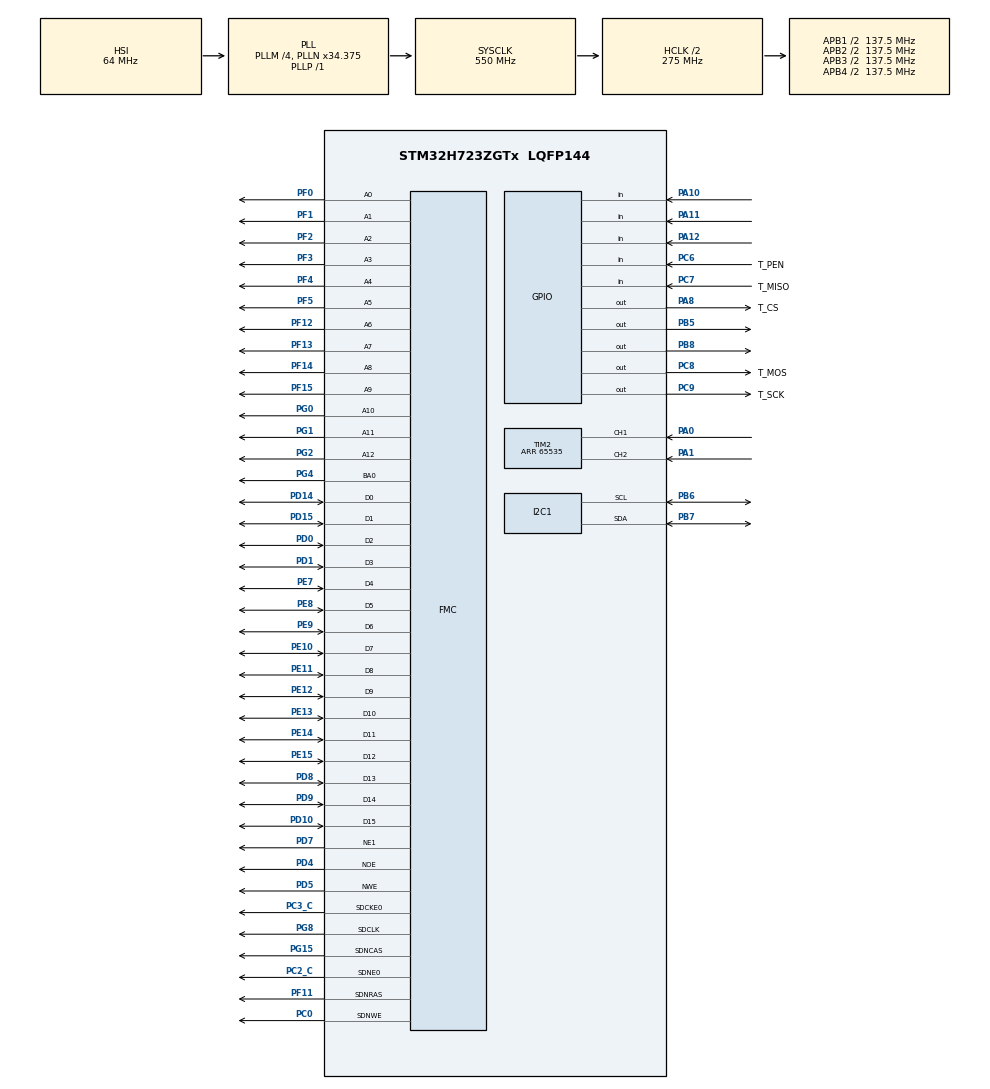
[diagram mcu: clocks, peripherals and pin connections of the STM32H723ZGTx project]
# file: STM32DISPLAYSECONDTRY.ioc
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CORTEX_M7.AccessPermission_Spec=MPU_REGION_FULL_ACCESS
CORTEX_M7.BaseAddress_Spec=0x60000000
CORTEX_M7.DisableExec_Spec=MPU_INSTRUCTION_ACCESS_ENABLE
CORTEX_M7.IsBufferable_Spec=MPU_ACCESS_BUFFERABLE
CORTEX_M7.IsShareable_Spec=MPU_ACCESS_NOT_SHAREABLE
CORTEX_M7.MPU_Control=MPU_PRIVILEGED_DEFAULT
CORTEX_M7.Size_Spec=MPU_REGION_SIZE_256MB
CORTEX_M7.SubRegionDisable_Spec=0x00
CORTEX_M7.default_mode_Activation=1
DMA2D.AlphaModeForeground=DMA2D_REPLACE_ALPHA
DMA2D.ColorMode=DMA2D_OUTPUT_RGB565
DMA2D.Mode=DMA2D_M2M
FMC.AddressSetupTime1=1
FMC.BusTurnAroundDuration1=2
FMC.CASLatency1=FMC_SDRAM_CAS_LATENCY_2
FMC.ColumnBitsNumber1=FMC_SDRAM_COLUMN_BITS_NUM_9
FMC.DataSetupTime1=2
FMC.ExitSelfRefreshDelay1=8
FMC.ExtendedAddressSetupTime1=1
FMC.ExtendedBusTurnAroundDuration1=2
FMC.ExtendedDataSetupTime1=2
FMC.ExtendedMode1=FMC_EXTENDED_MODE_ENABLE
FMC.LoadToActiveDelay1=2
FMC.RCDDelay1=2
FMC.RPDelay1=2
FMC.ReadBurst1=FMC_SDRAM_RBURST_ENABLE
FMC.RowCycleDelay1=6
FMC.SDClockPeriod1=FMC_SDRAM_CLOCK_PERIOD_2
FMC.SelfRefreshTime1=6
FMC.WriteOperation1=FMC_WRITE_OPERATION_ENABLE
FMC.WriteRecoveryTime1=4
FREERTOS.Tasks01=defaultTask,0,128,StartDefaultTask,Default,NULL,Dynamic,NULL,NULL
FREERTOS.configUSE_NEWLIB_REENTRANT=1
FREERTOS.configUSE_RECURSIVE_MUTEXES=1
FREERTOS.configUSE_TICK_HOOK=1
I2C1.CustomTiming=Enabled
I2C1.Timing=0x10909CEC
Mcu.Family=STM32H7
Mcu.Name=STM32H723ZGTx
Mcu.Package=LQFP144
NVIC.DMA2D_IRQn=true\:5\:0\:false\:false\:true\:true\:true\:true\:true
NVIC.PriorityGroup=NVIC_PRIORITYGROUP_4
PA0.Signal=S_TIM2_CH1_ETR
PA1.Signal=S_TIM2_CH2
PA10.GPIO_PuPd=GPIO_NOPULL
PA10.Signal=GPIO_Input
PA11.GPIO_PuPd=GPIO_NOPULL
PA11.Signal=GPIO_Input
PA12.GPIO_PuPd=GPIO_PULLUP
PA12.Signal=GPIO_Input
PA13(JTMS/SWDIO).Mode=Serial_Wire
PA13(JTMS/SWDIO).Signal=DEBUG_JTMS-SWDIO
PA14(JTCK/SWCLK).Mode=Serial_Wire
PA14(JTCK/SWCLK).Signal=DEBUG_JTCK-SWCLK
PA8.GPIO_Label=T_CS
PA8.GPIO_ModeDefaultOutputPP=GPIO_MODE_OUTPUT_PP
PA8.GPIO_PuPd=GPIO_PULLUP
PA8.GPIO_Speed=GPIO_SPEED_FREQ_HIGH
PA8.PinState=GPIO_PIN_SET
PA8.Signal=GPIO_Output
PB5.GPIO_ModeDefaultOutputPP=GPIO_MODE_OUTPUT_PP
PB5.GPIO_PuPd=GPIO_PULLUP
PB5.GPIO_Speed=GPIO_SPEED_FREQ_VERY_HIGH
PB5.PinState=GPIO_PIN_SET
PB5.Signal=GPIO_Output
PB6.GPIO_Speed=GPIO_SPEED_FREQ_VERY_HIGH
PB6.Mode=I2C
PB6.Signal=I2C1_SCL
PB7.GPIO_Speed=GPIO_SPEED_FREQ_VERY_HIGH
PB7.Mode=I2C
PB7.Signal=I2C1_SDA
PB8.GPIO_ModeDefaultOutputPP=GPIO_MODE_OUTPUT_PP
PB8.GPIO_PuPd=GPIO_PULLUP
PB8.GPIO_Speed=GPIO_SPEED_FREQ_VERY_HIGH
PB8.PinState=GPIO_PIN_SET
PB8.Signal=GPIO_Output
PC0.Signal=FMC_SDNWE
PC2_C.Mode=SdramChipSelect1_1
PC2_C.Signal=FMC_SDNE0
PC3_C.Mode=SdramChipSelect1_1
PC3_C.Signal=FMC_SDCKE0
PC6.GPIO_Label=T_PEN
PC6.GPIO_PuPd=GPIO_PULLUP
PC6.Signal=GPIO_Input
PC7.GPIO_Label=T_MISO
PC7.GPIO_PuPd=GPIO_PULLUP
PC7.Signal=GPIO_Input
PC8.GPIO_Label=T_MOS
PC8.GPIO_ModeDefaultOutputPP=GPIO_MODE_OUTPUT_PP
PC8.GPIO_PuPd=GPIO_PULLUP
PC8.GPIO_Speed=GPIO_SPEED_FREQ_HIGH
PC8.PinState=GPIO_PIN_SET
PC8.Signal=GPIO_Output
PC9.GPIO_Label=T_SCK
PC9.GPIO_PuPd=GPIO_PULLUP
PC9.GPIO_Speed=GPIO_SPEED_FREQ_HIGH
PC9.PinState=GPIO_PIN_SET
PC9.Signal=GPIO_Output
PD0.GPIO_Mode=GPIO_MODE_AF_PP
PD0.GPIO_PuPd=GPIO_PULLUP
PD0.GPIO_Speed_High_Default=GPIO_SPEED_FREQ_VERY_HIGH
PD0.Signal=FMC_D2_DA2
PD1.GPIO_Mode=GPIO_MODE_AF_PP
PD1.GPIO_PuPd=GPIO_PULLUP
PD1.GPIO_Speed_High_Default=GPIO_SPEED_FREQ_VERY_HIGH
PD1.Signal=FMC_D3_DA3
PD10.GPIO_Mode=GPIO_MODE_AF_PP
PD10.GPIO_PuPd=GPIO_PULLUP
PD10.GPIO_Speed_High_Default=GPIO_SPEED_FREQ_VERY_HIGH
PD10.Signal=FMC_D15_DA15
PD13.Signal=FMC_A18
PD14.GPIO_Mode=GPIO_MODE_AF_PP
PD14.GPIO_PuPd=GPIO_PULLUP
PD14.GPIO_Speed_High_Default=GPIO_SPEED_FREQ_VERY_HIGH
PD14.Signal=FMC_D0_DA0
PD15.GPIO_PuPd=GPIO_PULLUP
PD15.Signal=FMC_D1_DA1
PD4.GPIO_Mode=GPIO_MODE_AF_PP
PD4.GPIO_PuPd=GPIO_PULLUP
PD4.GPIO_Speed_High_Default=GPIO_SPEED_FREQ_VERY_HIGH
PD4.Signal=FMC_NOE
PD5.GPIO_Mode=GPIO_MODE_AF_PP
PD5.GPIO_PuPd=GPIO_PULLUP
PD5.GPIO_Speed_High_Default=GPIO_SPEED_FREQ_VERY_HIGH
PD5.Signal=FMC_NWE
PD7.GPIO_PuPd=GPIO_PULLUP
PD7.Mode=NorPsramChipSelect1_1
PD7.Signal=FMC_NE1
PD8.GPIO_Mode=GPIO_MODE_AF_PP
PD8.GPIO_PuPd=GPIO_PULLUP
PD8.GPIO_Speed_High_Default=GPIO_SPEED_FREQ_VERY_HIGH
PD8.Signal=FMC_D13_DA13
PD9.GPIO_Mode=GPIO_MODE_AF_PP
PD9.GPIO_PuPd=GPIO_PULLUP
PD9.GPIO_Speed_High_Default=GPIO_SPEED_FREQ_VERY_HIGH
PD9.Signal=FMC_D14_DA14
PE10.GPIO_Mode=GPIO_MODE_AF_PP
PE10.GPIO_PuPd=GPIO_PULLUP
PE10.GPIO_Speed_High_Default=GPIO_SPEED_FREQ_VERY_HIGH
PE10.Signal=FMC_D7_DA7
PE11.GPIO_Mode=GPIO_MODE_AF_PP
PE11.GPIO_PuPd=GPIO_PULLUP
PE11.GPIO_Speed_High_Default=GPIO_SPEED_FREQ_VERY_HIGH
PE11.Signal=FMC_D8_DA8
PE12.GPIO_Mode=GPIO_MODE_AF_PP
PE12.GPIO_PuPd=GPIO_PULLUP
PE12.GPIO_Speed_High_Default=GPIO_SPEED_FREQ_VERY_HIGH
PE12.Signal=FMC_D9_DA9
PE13.GPIO_Mode=GPIO_MODE_AF_PP
PE13.GPIO_PuPd=GPIO_PULLUP
PE13.GPIO_Speed_High_Default=GPIO_SPEED_FREQ_VERY_HIGH
PE13.Signal=FMC_D10_DA10
PE14.GPIO_Mode=GPIO_MODE_AF_PP
PE14.GPIO_PuPd=GPIO_PULLUP
PE14.GPIO_Speed_High_Default=GPIO_SPEED_FREQ_VERY_HIGH
PE14.Signal=FMC_D11_DA11
PE15.GPIO_Mode=GPIO_MODE_AF_PP
PE15.GPIO_PuPd=GPIO_PULLUP
PE15.GPIO_Speed_High_Default=GPIO_SPEED_FREQ_VERY_HIGH
PE15.Signal=FMC_D12_DA12
PE7.GPIO_Mode=GPIO_MODE_AF_PP
PE7.GPIO_PuPd=GPIO_PULLUP
PE7.GPIO_Speed_High_Default=GPIO_SPEED_FREQ_VERY_HIGH
PE7.Signal=FMC_D4_DA4
PE8.GPIO_Mode=GPIO_MODE_AF_PP
PE8.GPIO_PuPd=GPIO_PULLUP
PE8.GPIO_Speed_High_Default=GPIO_SPEED_FREQ_VERY_HIGH
PE8.Signal=FMC_D5_DA5
PE9.GPIO_Mode=GPIO_MODE_AF_PP
PE9.GPIO_PuPd=GPIO_PULLUP
PE9.GPIO_Speed_High_Default=GPIO_SPEED_FREQ_VERY_HIGH
PE9.Signal=FMC_D6_DA6
PF0.Signal=FMC_A0
PF1.Signal=FMC_A1
PF11.Signal=FMC_SDNRAS
PF12.Signal=FMC_A6
PF13.Signal=FMC_A7
PF14.Signal=FMC_A8
PF15.Signal=FMC_A9
PF2.Signal=FMC_A2
PF3.Signal=FMC_A3
PF4.Signal=FMC_A4
PF5.Signal=FMC_A5
PG0.Signal=FMC_A10
PG1.Signal=FMC_A11
PG15.Signal=FMC_SDNCAS
PG2.Signal=FMC_A12
PG4.Signal=FMC_A14_BA0
PG8.Signal=FMC_SDCLK
PH0-OSC_IN.Mode=HSE-External-Oscillator
PH0-OSC_IN.Signal=RCC_OSC_IN
PH1-OSC_OUT.Mode=HSE-External-Oscillator
PH1-OSC_OUT.Signal=RCC_OSC_OUT
ProjectManager.HeapSize=0x200
ProjectManager.StackSize=0x400
ProjectManager.TargetToolchain=STM32CubeIDE
RCC.ADCFreq_Value=129000000
RCC.APB1Freq_Value=137500000
RCC.APB2Freq_Value=137500000
RCC.APB3Freq_Value=137500000
RCC.APB4Freq_Value=137500000
RCC.CortexFreq_Value=550000000
RCC.D1PPRE=RCC_APB3_DIV2
RCC.D2PPRE1=RCC_APB1_DIV2
RCC.D2PPRE2=RCC_APB2_DIV2
RCC.D3PPRE=RCC_APB4_DIV2
RCC.DIVM1=4
RCC.DIVN1=34
RCC.DIVP1=1
RCC.FMCCLockSelection=RCC_FMCCLKSOURCE_PLL2
RCC.HCLKFreq_Value=275000000
RCC.HPRE=RCC_HCLK_DIV2
RCC.PLL2FRACN=0
RCC.PLL3FRACN=0
RCC.PLLFRACN=3072
RCC.SYSCLKFreq_VALUE=550000000
RCC.SYSCLKSource=RCC_SYSCLKSOURCE_PLLCLK
RCC.USBFreq_Value=275000000
SH.FMC_A0.0=FMC_A0,13b-sda1
SH.FMC_A0.1=FMC_A0,1b-a1
SH.FMC_A1.0=FMC_A1,13b-sda1
SH.FMC_A10.0=FMC_A10,13b-sda1
SH.FMC_A11.0=FMC_A11,13b-sda1
SH.FMC_A12.0=FMC_A12,13b-sda1
SH.FMC_A14_BA0.0=FMC_BA0,TwoSdramBanks1
SH.FMC_A18.0=FMC_A18
SH.FMC_A2.0=FMC_A2,13b-sda1
SH.FMC_A3.0=FMC_A3,13b-sda1
SH.FMC_A4.0=FMC_A4,13b-sda1
SH.FMC_A5.0=FMC_A5,13b-sda1
SH.FMC_A6.0=FMC_A6,13b-sda1
SH.FMC_A7.0=FMC_A7,13b-sda1
SH.FMC_A8.0=FMC_A8,13b-sda1
SH.FMC_A9.0=FMC_A9,13b-sda1
SH.FMC_D0_DA0.0=FMC_D0,sd-8b-d1
SH.FMC_D0_DA0.1=FMC_D0,16b-d1
SH.FMC_D10_DA10.0=FMC_D10,16b-d1
SH.FMC_D11_DA11.0=FMC_D11,16b-d1
SH.FMC_D12_DA12.0=FMC_D12,16b-d1
SH.FMC_D13_DA13.0=FMC_D13,16b-d1
SH.FMC_D14_DA14.0=FMC_D14,16b-d1
SH.FMC_D15_DA15.0=FMC_D15,16b-d1
SH.FMC_D1_DA1.0=FMC_D1,sd-8b-d1
SH.FMC_D1_DA1.1=FMC_D1,16b-d1
SH.FMC_D2_DA2.0=FMC_D2,sd-8b-d1
SH.FMC_D2_DA2.1=FMC_D2,16b-d1
SH.FMC_D3_DA3.0=FMC_D3,sd-8b-d1
SH.FMC_D3_DA3.1=FMC_D3,16b-d1
SH.FMC_D4_DA4.0=FMC_D4,sd-8b-d1
SH.FMC_D4_DA4.1=FMC_D4,16b-d1
SH.FMC_D5_DA5.0=FMC_D5,sd-8b-d1
SH.FMC_D5_DA5.1=FMC_D5,16b-d1
SH.FMC_D6_DA6.0=FMC_D6,sd-8b-d1
SH.FMC_D6_DA6.1=FMC_D6,16b-d1
SH.FMC_D7_DA7.0=FMC_D7,sd-8b-d1
SH.FMC_D7_DA7.1=FMC_D7,16b-d1
SH.FMC_D8_DA8.0=FMC_D8,16b-d1
SH.FMC_D9_DA9.0=FMC_D9,16b-d1
SH.FMC_NOE.0=FMC_NOE,Sram1
SH.FMC_NWE.0=FMC_NWE,Sram1
SH.FMC_SDCLK.0=FMC_SDCLK,13b-sda1
SH.FMC_SDNCAS.0=FMC_SDNCAS,13b-sda1
SH.FMC_SDNRAS.0=FMC_SDNRAS,13b-sda1
SH.FMC_SDNWE.0=FMC_SDNWE,13b-sda1
SH.S_TIM2_CH1_ETR.0=TIM2_CH1,Encoder_Interface
SH.S_TIM2_CH2.0=TIM2_CH2,Encoder_Interface
TIM2.EncoderMode=TIM_ENCODERMODE_TI12
TIM2.IC1Polarity=TIM_ICPOLARITY_FALLING
TIM2.IC2Polarity=TIM_ICPOLARITY_FALLING
TIM2.Period=65535
VP_DMA2D_VS_DMA2D.Mode=DMA2D_Activate
VP_FREERTOS_VS_CMSIS_V1.Mode=CMSIS_V1
VP_MEMORYMAP_VS_MEMORYMAP.Mode=CurAppReg
board=custom

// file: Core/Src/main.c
/* USER CODE BEGIN Header */
/**
  ******************************************************************************
  * @file           : main.c
  * @brief          : Main program body
  ******************************************************************************
  * @attention
  *
  * Copyright (c) 2025 STMicroelectronics.
  * All rights reserved.
  *
  * This software is licensed under terms that can be found in the LICENSE file
  * in the root directory of this software component.
  * If no LICENSE file comes with this software, it is provided AS-IS.
  *
  ******************************************************************************
  */
/* USER CODE END Header */
#include "main.h"
#include "cmsis_os.h"

/* USER CODE BEGIN PM */
osThreadId sigmabroHandler;
osThreadId EncoderHandler;
QueueHandle_t Queue;
/* USER CODE END PM */

DMA2D_HandleTypeDef hdma2d;

I2C_HandleTypeDef hi2c1;

TIM_HandleTypeDef htim2;

SRAM_HandleTypeDef hsram1;
SDRAM_HandleTypeDef hsdram1;
osThreadId defaultTaskHandle;
/* USER CODE BEGIN PV */
void LVGL(void const * argument);
void ReadEncoder(void const * argument);
uint8_t buf1[800 * 96]={0};  // 160,000 bytes (100 строк)
uint8_t buf2[800 * 96]={0};  // 160,000 bytes (100 строк)
lv_display_t * display1 = NULL;
volatile uint32_t counter=0;
volatile uint32_t RawCounter=0;
volatile uint32_t last_сounter=0;
volatile uint32_t blink_delay = 200;
/* USER CODE END PV */

void SystemClock_Config(void);
static void MPU_Config(void);
static void MX_GPIO_Init(void);
static void MX_FMC_Init(void);
static void MX_DMA2D_Init(void);
static void MX_I2C1_Init(void);
static void MX_TIM2_Init(void);
void StartDefaultTask(void const * argument);

/* USER CODE BEGIN PFP */

#define SCREEN_WIDTH 480
#define SCREEN_HEIGHT 800
void DMA2D_CopyBuffer(uint16_t* src, uint32_t x, uint32_t y, uint32_t width, uint32_t height)
{
   // while (DMA2D->CR & DMA2D_CR_START) {
      //  __NOP();
   // }

    //uint32_t dest_addr = (uint32_t*)(&LCD->LCD_RAM);

    // Настройка DMA2D
      //DMA2D->CR = 0x00000000UL;
       //DMA2D->FGMAR = (uint32_t)src;
       //DMA2D->OMAR = (uint32_t)dest_addr;
       //DMA2D->FGOR =0;
      //DMA2D->OOR =0;
      // DMA2D->NLR = (width << 16) | (height & 0xFFFF);
       //DMA2D->FGPFCCR = DMA2D_INPUT_RGB565;
       //DMA2D->OPFCCR = DMA2D_OUTPUT_RGB565;
      // DMA2D->IFCR = 0x3FU;
       //DMA2D->CR |= DMA2D_CR_TCIE;
       //DMA2D->CR |= DMA2D_CR_START;
    //HAL_DMA2D_Start_IT(&hdma2d, (uint32_t)src, dest_addr, width, height);

       // Ждем завершения

}
void my_flush_cb(lv_display_t * display, const lv_area_t * area, uint8_t * px_map) //Получаем сам дисплей, границы и пиксели
{
	LCD_SetWindows(area->x1, area->y1, area->x2, area->y2);
	int32_t width = (area->x2 - area->x1 + 1);
	int32_t height = (area->y2 - area->y1 + 1);
	uint32_t pixel_count = width*height;
	uint16_t * buf16 = (uint16_t*)px_map;
    //uint16_t width = (area->x2 - area->x1 + 1);
   // uint16_t height = (area->y2 - area->y1 + 1);
    uint16_t *dest_addr = (uint16_t*)(&LCD->LCD_RAM);
    //uint32_t* src = px_map;
    //for(uint32_t i = 0; i < pixel_count; i++) {
    	//Lcd_WriteData_16Bit(*buf16);
    	//buf16++;
    //}
    //lv_display_flush_ready(display);
	///////////////////////////////////////////////////// DMA
    //DMA2D_CopyBuffer((uint16_t*)px_map, area->x1, area->y1, width, height);
    // lv_draw_dma2d_transfer_complete_interrupt_handler();
    //buf16++;
   //  lv_disp_flush_ready(display);
   ///////////////////////////////////////////////////////////////
    //lv_memcpy(&LCD->LCD_RAM, buf16, width * height * 2);
   /////////////////////////////////////////////////////////////////
    for(uint32_t i = 0; i < pixel_count; i++) {
            *dest_addr = buf16[i];
       }
    lv_display_flush_ready(display);
}
//static void disp_flush_complete(DMA2D_HandleTypeDef *hdma2d)
//{
  //lv_display_flush_ready(display1);
//}
static void my_input_read(lv_indev_t * indev, lv_indev_data_t * data)
{
	if(TP_Scan(0) & 0x80)
	{
		data->state = LV_INDEV_STATE_PRESSED;

	} else {
        data->state = LV_INDEV_STATE_RELEASED;
    }
	data->point.x = (int32_t)tp_dev.x;
	data->point.y = (int32_t)tp_dev.y;
}
/* USER CODE END PFP */

int main(void)
{

  /* MPU Configuration--------------------------------------------------------*/
  MPU_Config();

  /* MCU Configuration--------------------------------------------------------*/

  /* Reset of all peripherals, Initializes the Flash interface and the Systick. */
  HAL_Init();

  /* Configure the system clock */
  SystemClock_Config();

  /* Initialize all configured peripherals */
  MX_GPIO_Init();
  MX_FMC_Init();
  MX_DMA2D_Init();
  MX_I2C1_Init();
  MX_TIM2_Init();
  /* USER CODE BEGIN 2 */
  Cache_Enable();                 //打开L1-Cache                //初始化HAL库
  //Stm32_Clock_Init(160,5,2,4);  		    //设置时钟,400Mhz
  delay_init(550);						//延时初始化
  //SDRAM_Init();      //初始化SDRAM
  //HAL_Delay(10);
  LCD_Init();
  TP_Init();
  //HAL_DMA2D_Init(&hdma2d);
  //hdma2d.XferCpltCallback = disp_flush_complete;
  // Настройка формата цвета

  //lv_init();
  //lv_tick_set_cb(HAL_GetTick);
  //lv_tick_set_cb(xTaskGetTickCount);
  //display1 = lv_display_create(480, 800);
  //lv_display_set_buffers(display1, buf1, buf2, sizeof(buf1), LV_DISPLAY_RENDER_MODE_PARTIAL);
  //lv_display_set_flush_cb(display1, my_flush_cb);

 // lv_indev_t * indev = lv_indev_create();
  //lv_indev_set_type(indev, LV_INDEV_TYPE_POINTER);
 // lv_indev_set_read_cb(indev, my_input_read);

  //ui_init();
  //lv_disp_flush_ready(display1);

  /* USER CODE END 2 */

  /* Create the thread(s) */
  /* definition and creation of defaultTask */
  osThreadDef(defaultTask, StartDefaultTask, osPriorityNormal, 0, 128);
  defaultTaskHandle = osThreadCreate(osThread(defaultTask), NULL);

  /* USER CODE BEGIN RTOS_THREADS */
  /* add threads, ... */
  osThreadDef(LVGLupdate, LVGL, osPriorityAboveNormal, 0, 2048);
  sigmabroHandler = osThreadCreate(osThread(LVGLupdate), NULL);

  osThreadDef(Encoder, ReadEncoder, osPriorityAboveNormal, 0, 512);
  EncoderHandler = osThreadCreate(osThread(Encoder), NULL);
  //osThreadDef(GetTempAndHumid, TempnHumid, osPriorityNormal, 0, 512);
  //TempAndHumidHandle = osThreadCreate(osThread(GetTempAndHumid), NULL);
  /* USER CODE END RTOS_THREADS */

  Queue = xQueueCreate( 8, sizeof( uint32_t ) );
  /* Start scheduler */
  osKernelStart();

  /* We should never get here as control is now taken by the scheduler */

  /* Infinite loop */
  while (1)
  {

  }
}

void SystemClock_Config(void)
{
  RCC_OscInitTypeDef RCC_OscInitStruct = {0};
  RCC_ClkInitTypeDef RCC_ClkInitStruct = {0};

  /** Supply configuration update enable
  */
  HAL_PWREx_ConfigSupply(PWR_LDO_SUPPLY);

  /** Configure the main internal regulator output voltage
  */
  __HAL_PWR_VOLTAGESCALING_CONFIG(PWR_REGULATOR_VOLTAGE_SCALE0);

  while(!__HAL_PWR_GET_FLAG(PWR_FLAG_VOSRDY)) {}

  /** Initializes the RCC Oscillators according to the specified parameters
  * in the RCC_OscInitTypeDef structure.
  */
  RCC_OscInitStruct.OscillatorType = RCC_OSCILLATORTYPE_HSI;
  RCC_OscInitStruct.HSIState = RCC_HSI_DIV1;
  RCC_OscInitStruct.HSICalibrationValue = 64;
  RCC_OscInitStruct.PLL.PLLState = RCC_PLL_ON;
  RCC_OscInitStruct.PLL.PLLSource = RCC_PLLSOURCE_HSI;
  RCC_OscInitStruct.PLL.PLLM = 4;
  RCC_OscInitStruct.PLL.PLLN = 34;
  RCC_OscInitStruct.PLL.PLLP = 1;
  RCC_OscInitStruct.PLL.PLLQ = 2;
  RCC_OscInitStruct.PLL.PLLR = 2;
  RCC_OscInitStruct.PLL.PLLRGE = RCC_PLL1VCIRANGE_3;
  RCC_OscInitStruct.PLL.PLLVCOSEL = RCC_PLL1VCOWIDE;
  RCC_OscInitStruct.PLL.PLLFRACN = 3072;
  if (HAL_RCC_OscConfig(&RCC_OscInitStruct) != HAL_OK)
  {
    Error_Handler();
  }

  /** Initializes the CPU, AHB and APB buses clocks
  */
  RCC_ClkInitStruct.ClockType = RCC_CLOCKTYPE_HCLK|RCC_CLOCKTYPE_SYSCLK
                              |RCC_CLOCKTYPE_PCLK1|RCC_CLOCKTYPE_PCLK2
                              |RCC_CLOCKTYPE_D3PCLK1|RCC_CLOCKTYPE_D1PCLK1;
  RCC_ClkInitStruct.SYSCLKSource = RCC_SYSCLKSOURCE_PLLCLK;
  RCC_ClkInitStruct.SYSCLKDivider = RCC_SYSCLK_DIV1;
  RCC_ClkInitStruct.AHBCLKDivider = RCC_HCLK_DIV2;
  RCC_ClkInitStruct.APB3CLKDivider = RCC_APB3_DIV2;
  RCC_ClkInitStruct.APB1CLKDivider = RCC_APB1_DIV2;
  RCC_ClkInitStruct.APB2CLKDivider = RCC_APB2_DIV2;
  RCC_ClkInitStruct.APB4CLKDivider = RCC_APB4_DIV2;

  if (HAL_RCC_ClockConfig(&RCC_ClkInitStruct, FLASH_LATENCY_3) != HAL_OK)
  {
    Error_Handler();
  }
}

static void MX_DMA2D_Init(void)
{

  /* USER CODE BEGIN DMA2D_Init 0 */
  __HAL_RCC_DMA2D_CLK_ENABLE();

  /* USER CODE END DMA2D_Init 0 */

  hdma2d.Instance = DMA2D;
  hdma2d.Init.Mode = DMA2D_M2M;
  hdma2d.Init.ColorMode = DMA2D_OUTPUT_RGB565;
  hdma2d.Init.OutputOffset = 0;
  hdma2d.LayerCfg[1].InputOffset = 0;
  hdma2d.LayerCfg[1].InputColorMode = DMA2D_INPUT_RGB565;
  hdma2d.LayerCfg[1].AlphaMode = DMA2D_REPLACE_ALPHA;
  hdma2d.LayerCfg[1].InputAlpha = 0;
  hdma2d.LayerCfg[1].AlphaInverted = DMA2D_REGULAR_ALPHA;
  hdma2d.LayerCfg[1].RedBlueSwap = DMA2D_RB_REGULAR;
  hdma2d.LayerCfg[1].ChromaSubSampling = DMA2D_NO_CSS;
  if (HAL_DMA2D_Init(&hdma2d) != HAL_OK)
  {
    Error_Handler();
  }
  if (HAL_DMA2D_ConfigLayer(&hdma2d, 1) != HAL_OK)
  {
    Error_Handler();
  }

}

static void MX_I2C1_Init(void)
{

  hi2c1.Instance = I2C1;
  hi2c1.Init.Timing = 0x10909CEC;
  hi2c1.Init.OwnAddress1 = 0;
  hi2c1.Init.AddressingMode = I2C_ADDRESSINGMODE_7BIT;
  hi2c1.Init.DualAddressMode = I2C_DUALADDRESS_DISABLE;
  hi2c1.Init.OwnAddress2 = 0;
  hi2c1.Init.OwnAddress2Masks = I2C_OA2_NOMASK;
  hi2c1.Init.GeneralCallMode = I2C_GENERALCALL_DISABLE;
  hi2c1.Init.NoStretchMode = I2C_NOSTRETCH_DISABLE;
  if (HAL_I2C_Init(&hi2c1) != HAL_OK)
  {
    Error_Handler();
  }

  /** Configure Analogue filter
  */
  if (HAL_I2CEx_ConfigAnalogFilter(&hi2c1, I2C_ANALOGFILTER_ENABLE) != HAL_OK)
  {
    Error_Handler();
  }

  /** Configure Digital filter
  */
  if (HAL_I2CEx_ConfigDigitalFilter(&hi2c1, 0) != HAL_OK)
  {
    Error_Handler();
  }

}

static void MX_TIM2_Init(void)
{

  TIM_Encoder_InitTypeDef sConfig = {0};
  TIM_MasterConfigTypeDef sMasterConfig = {0};

  htim2.Instance = TIM2;
  htim2.Init.Prescaler = 0;
  htim2.Init.CounterMode = TIM_COUNTERMODE_UP;
  htim2.Init.Period = 65535;
  htim2.Init.ClockDivision = TIM_CLOCKDIVISION_DIV1;
  htim2.Init.AutoReloadPreload = TIM_AUTORELOAD_PRELOAD_DISABLE;
  sConfig.EncoderMode = TIM_ENCODERMODE_TI12;
  sConfig.IC1Polarity = TIM_ICPOLARITY_FALLING;
  sConfig.IC1Selection = TIM_ICSELECTION_DIRECTTI;
  sConfig.IC1Prescaler = TIM_ICPSC_DIV1;
  sConfig.IC1Filter = 0;
  sConfig.IC2Polarity = TIM_ICPOLARITY_FALLING;
  sConfig.IC2Selection = TIM_ICSELECTION_DIRECTTI;
  sConfig.IC2Prescaler = TIM_ICPSC_DIV1;
  sConfig.IC2Filter = 0;
  if (HAL_TIM_Encoder_Init(&htim2, &sConfig) != HAL_OK)
  {
    Error_Handler();
  }
  sMasterConfig.MasterOutputTrigger = TIM_TRGO_RESET;
  sMasterConfig.MasterSlaveMode = TIM_MASTERSLAVEMODE_DISABLE;
  if (HAL_TIMEx_MasterConfigSynchronization(&htim2, &sMasterConfig) != HAL_OK)
  {
    Error_Handler();
  }

}

/* FMC initialization function */
static void MX_FMC_Init(void)
{

  FMC_NORSRAM_TimingTypeDef Timing = {0};
  FMC_NORSRAM_TimingTypeDef ExtTiming = {0};
  FMC_SDRAM_TimingTypeDef SdramTiming = {0};

  /** Perform the SRAM1 memory initialization sequence
  */
  hsram1.Instance = FMC_NORSRAM_DEVICE;
  hsram1.Extended = FMC_NORSRAM_EXTENDED_DEVICE;
  /* hsram1.Init */
  hsram1.Init.NSBank = FMC_NORSRAM_BANK1;
  hsram1.Init.DataAddressMux = FMC_DATA_ADDRESS_MUX_DISABLE;
  hsram1.Init.MemoryType = FMC_MEMORY_TYPE_SRAM;
  hsram1.Init.MemoryDataWidth = FMC_NORSRAM_MEM_BUS_WIDTH_16;
  hsram1.Init.BurstAccessMode = FMC_BURST_ACCESS_MODE_DISABLE;
  hsram1.Init.WaitSignalPolarity = FMC_WAIT_SIGNAL_POLARITY_LOW;
  hsram1.Init.WaitSignalActive = FMC_WAIT_TIMING_BEFORE_WS;
  hsram1.Init.WriteOperation = FMC_WRITE_OPERATION_ENABLE;
  hsram1.Init.WaitSignal = FMC_WAIT_SIGNAL_DISABLE;
  hsram1.Init.ExtendedMode = FMC_EXTENDED_MODE_ENABLE;
  hsram1.Init.AsynchronousWait = FMC_ASYNCHRONOUS_WAIT_DISABLE;
  hsram1.Init.WriteBurst = FMC_WRITE_BURST_DISABLE;
  hsram1.Init.ContinuousClock = FMC_CONTINUOUS_CLOCK_SYNC_ONLY;
  hsram1.Init.WriteFifo = FMC_WRITE_FIFO_ENABLE;
  hsram1.Init.PageSize = FMC_PAGE_SIZE_NONE;
  /* Timing */
  Timing.AddressSetupTime = 1;
  Timing.AddressHoldTime = 15;
  Timing.DataSetupTime = 2;
  Timing.BusTurnAroundDuration = 2;
  Timing.CLKDivision = 16;
  Timing.DataLatency = 17;
  Timing.AccessMode = FMC_ACCESS_MODE_A;
  /* ExtTiming */
  ExtTiming.AddressSetupTime = 1;
  ExtTiming.AddressHoldTime = 15;
  ExtTiming.DataSetupTime = 2;
  ExtTiming.BusTurnAroundDuration = 2;
  ExtTiming.CLKDivision = 16;
  ExtTiming.DataLatency = 17;
  ExtTiming.AccessMode = FMC_ACCESS_MODE_A;

  if (HAL_SRAM_Init(&hsram1, &Timing, &ExtTiming) != HAL_OK)
  {
    Error_Handler( );
  }

  /** Perform the SDRAM1 memory initialization sequence
  */
  hsdram1.Instance = FMC_SDRAM_DEVICE;
  /* hsdram1.Init */
  hsdram1.Init.SDBank = FMC_SDRAM_BANK1;
  hsdram1.Init.ColumnBitsNumber = FMC_SDRAM_COLUMN_BITS_NUM_9;
  hsdram1.Init.RowBitsNumber = FMC_SDRAM_ROW_BITS_NUM_13;
  hsdram1.Init.MemoryDataWidth = FMC_SDRAM_MEM_BUS_WIDTH_8;
  hsdram1.Init.InternalBankNumber = FMC_SDRAM_INTERN_BANKS_NUM_2;
  hsdram1.Init.CASLatency = FMC_SDRAM_CAS_LATENCY_2;
  hsdram1.Init.WriteProtection = FMC_SDRAM_WRITE_PROTECTION_DISABLE;
  hsdram1.Init.SDClockPeriod = FMC_SDRAM_CLOCK_PERIOD_2;
  hsdram1.Init.ReadBurst = FMC_SDRAM_RBURST_ENABLE;
  hsdram1.Init.ReadPipeDelay = FMC_SDRAM_RPIPE_DELAY_0;
  /* SdramTiming */
  SdramTiming.LoadToActiveDelay = 2;
  SdramTiming.ExitSelfRefreshDelay = 8;
  SdramTiming.SelfRefreshTime = 6;
  SdramTiming.RowCycleDelay = 6;
  SdramTiming.WriteRecoveryTime = 4;
  SdramTiming.RPDelay = 2;
  SdramTiming.RCDDelay = 2;

  if (HAL_SDRAM_Init(&hsdram1, &SdramTiming) != HAL_OK)
  {
    Error_Handler( );
  }

  /* USER CODE BEGIN FMC_Init 2 */
  HAL_SDRAM_ProgramRefreshRate(&hsdram1,3124);
  /* USER CODE END FMC_Init 2 */
}

static void MX_GPIO_Init(void)
{
  GPIO_InitTypeDef GPIO_InitStruct = {0};

  /* GPIO Ports Clock Enable */
  __HAL_RCC_GPIOF_CLK_ENABLE();
  __HAL_RCC_GPIOH_CLK_ENABLE();
  __HAL_RCC_GPIOC_CLK_ENABLE();
  __HAL_RCC_GPIOA_CLK_ENABLE();
  __HAL_RCC_GPIOG_CLK_ENABLE();
  __HAL_RCC_GPIOE_CLK_ENABLE();
  __HAL_RCC_GPIOD_CLK_ENABLE();
  __HAL_RCC_GPIOB_CLK_ENABLE();

  /*Configure GPIO pin Output Level */
  HAL_GPIO_WritePin(GPIOC, T_MOS_Pin|T_SCK_Pin, GPIO_PIN_SET);

  /*Configure GPIO pin Output Level */
  HAL_GPIO_WritePin(T_CS_GPIO_Port, T_CS_Pin, GPIO_PIN_SET);

  /*Configure GPIO pin Output Level */
  HAL_GPIO_WritePin(GPIOB, GPIO_PIN_5|GPIO_PIN_8, GPIO_PIN_SET);

  /*Configure GPIO pins : T_PEN_Pin T_MISO_Pin */
  GPIO_InitStruct.Pin = T_PEN_Pin|T_MISO_Pin;
  GPIO_InitStruct.Mode = GPIO_MODE_INPUT;
  GPIO_InitStruct.Pull = GPIO_PULLUP;
  HAL_GPIO_Init(GPIOC, &GPIO_InitStruct);

  /*Configure GPIO pins : T_MOS_Pin T_SCK_Pin */
  GPIO_InitStruct.Pin = T_MOS_Pin|T_SCK_Pin;
  GPIO_InitStruct.Mode = GPIO_MODE_OUTPUT_PP;
  GPIO_InitStruct.Pull = GPIO_PULLUP;
  GPIO_InitStruct.Speed = GPIO_SPEED_FREQ_HIGH;
  HAL_GPIO_Init(GPIOC, &GPIO_InitStruct);

  /*Configure GPIO pin : T_CS_Pin */
  GPIO_InitStruct.Pin = T_CS_Pin;
  GPIO_InitStruct.Mode = GPIO_MODE_OUTPUT_PP;
  GPIO_InitStruct.Pull = GPIO_PULLUP;
  GPIO_InitStruct.Speed = GPIO_SPEED_FREQ_HIGH;
  HAL_GPIO_Init(T_CS_GPIO_Port, &GPIO_InitStruct);

  /*Configure GPIO pins : PA10 PA11 */
  GPIO_InitStruct.Pin = GPIO_PIN_10|GPIO_PIN_11;
  GPIO_InitStruct.Mode = GPIO_MODE_INPUT;
  GPIO_InitStruct.Pull = GPIO_NOPULL;
  HAL_GPIO_Init(GPIOA, &GPIO_InitStruct);

  /*Configure GPIO pin : PA12 */
  GPIO_InitStruct.Pin = GPIO_PIN_12;
  GPIO_InitStruct.Mode = GPIO_MODE_INPUT;
  GPIO_InitStruct.Pull = GPIO_PULLUP;
  HAL_GPIO_Init(GPIOA, &GPIO_InitStruct);

  /*Configure GPIO pins : PB5 PB8 */
  GPIO_InitStruct.Pin = GPIO_PIN_5|GPIO_PIN_8;
  GPIO_InitStruct.Mode = GPIO_MODE_OUTPUT_PP;
  GPIO_InitStruct.Pull = GPIO_PULLUP;
  GPIO_InitStruct.Speed = GPIO_SPEED_FREQ_VERY_HIGH;
  HAL_GPIO_Init(GPIOB, &GPIO_InitStruct);

}

/* USER CODE BEGIN 4 */
/* USER CODE END Header_StartDefaultTask */
void vApplicationTickHook()
{
	lv_tick_inc(1);
}
void LVGL(void const * argument)
{
  /* USER CODE BEGIN 5 */
	//osDelay(50);
	lv_init();
	  //lv_tick_set_cb(HAL_GetTick);
	lv_tick_set_cb(xTaskGetTickCount);
	  display1 = lv_display_create(480, 800);
	  lv_display_set_buffers(display1, buf1, buf2, sizeof(buf1), LV_DISPLAY_RENDER_MODE_PARTIAL);
	  lv_display_set_flush_cb(display1, my_flush_cb);

	  lv_indev_t * indev = lv_indev_create();
	  lv_indev_set_type(indev, LV_INDEV_TYPE_POINTER);
	  lv_indev_set_read_cb(indev, my_input_read);
	  //osDelay(50);
	  ui_init();
  /* Infinite loop */
  for(;;)
  {
	  //osMutexWait(lvglMutexHandle, osWaitForever);
	  //xQueueReceive( Queue, &ReadEncoder, portMAX_DELAY );
	  lv_timer_handler();
	  //osMutexRelease(lvglMutexHandle);
	  vTaskDelay(2);
  }
  /* USER CODE END 5 */
}
void ReadEncoder(void const * argument)
{
	/*uint8_t lastStateCLK, currentStateCLK, btnState;
	uint16_t counter=0;
	char *currentDir ="";
	lastStateCLK = HAL_GPIO_ReadPin(GPIOA, GPIO_PIN_10);
	for(;;)
	{
		currentStateCLK=HAL_GPIO_ReadPin(GPIOA, GPIO_PIN_10);
		// Проверяем изменилось ли состояние CLK
		  if (lastStateCLK != GPIO_PIN_RESET  && currentStateCLK == GPIO_PIN_SET){
		    uint8_t DT = HAL_GPIO_ReadPin(GPIOA, GPIO_PIN_11);
		    if(DT==GPIO_PIN_RESET)
		    {
		      counter--;
		      currentDir ="CCW";
		    } else {
		      counter++;
		      currentDir ="CW";
		    }
		  }

		  lastStateCLK = currentStateCLK;         // Запопоследнее состояние CLK
		  btnState = HAL_GPIO_ReadPin(GPIOA, GPIO_PIN_12);        // Считываем состояние вывода SW*/
	HAL_TIM_Encoder_Start(&htim2,TIM_CHANNEL_ALL);
	for(;;)
	{
		RawCounter =__HAL_TIM_GET_COUNTER(&htim2);
		counter=(RawCounter/4)%21;
		printf("%d \n",counter);
		if (counter !=last_сounter)
		{
			blink_delay=10+(counter%100)*10;
			last_сounter=counter;
		}
		//xQueueSend( Queue, ( void * ) &LVGL, portMAX_DELAY  );
		vTaskDelay(200);
	}

}
/*void TempnHumid(void const * argument)
{
	sht3x_handle_t handle = {
	    .i2c_handle = &hi2c1,
	    .device_address = SHT3X_I2C_DEVICE_ADDRESS_ADDR_PIN_LOW
	};
	if (!sht3x_init(&handle)) {
	    printf("SHT3x access failed.\n\r");
	}
	float temperature=0;
	float humidity=0;
  /* USER CODE BEGIN 5 */
  /* Infinite loop */
  /*for(;;)
  {
	  sht3x_read_temperature_and_humidity(&handle, &temperature, &humidity);
	  sht3x_set_header_enable(&handle, true);
	  osDelay(2000);
	  sht3x_set_header_enable(&handle, false);
	  sht3x_read_temperature_and_humidity(&handle, &temperature, &humidity);
	  //datchik_readtempandhumid(&temperature,&humidity);
	  vTaskDelay(10000);
  }
  /* USER CODE END 5 */

/* USER CODE END 4 */

void StartDefaultTask(void const * argument)
{
  /* USER CODE BEGIN 5 */
	//osDelay(50);
  /* Infinite loop */
  for(;;)
  {
  }
  /* USER CODE END 5 */
}

 /* MPU Configuration */

void MPU_Config(void)
{
  MPU_Region_InitTypeDef MPU_InitStruct = {0};

  /* Disables the MPU */
  HAL_MPU_Disable();

  /** Initializes and configures the Region and the memory to be protected
  */
  MPU_InitStruct.Enable = MPU_REGION_ENABLE;
  MPU_InitStruct.Number = MPU_REGION_NUMBER0;
  MPU_InitStruct.BaseAddress = 0x60000000;
  MPU_InitStruct.Size = MPU_REGION_SIZE_256MB;
  MPU_InitStruct.SubRegionDisable = 0x00;
  MPU_InitStruct.TypeExtField = MPU_TEX_LEVEL0;
  MPU_InitStruct.AccessPermission = MPU_REGION_FULL_ACCESS;
  MPU_InitStruct.DisableExec = MPU_INSTRUCTION_ACCESS_ENABLE;
  MPU_InitStruct.IsShareable = MPU_ACCESS_NOT_SHAREABLE;
  MPU_InitStruct.IsCacheable = MPU_ACCESS_NOT_CACHEABLE;
  MPU_InitStruct.IsBufferable = MPU_ACCESS_BUFFERABLE;

  HAL_MPU_ConfigRegion(&MPU_InitStruct);
  /* Enables the MPU */
  HAL_MPU_Enable(MPU_PRIVILEGED_DEFAULT);

}

void Error_Handler(void)
{
  __disable_irq();
  while (1)
  {
  }
}

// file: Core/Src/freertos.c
/* USER CODE BEGIN Header */
/**
  ******************************************************************************
  * File Name          : freertos.c
  * Description        : Code for freertos applications
  ******************************************************************************
  * @attention
  *
  * Copyright (c) 2026 STMicroelectronics.
  * All rights reserved.
  *
  * This software is licensed under terms that can be found in the LICENSE file
  * in the root directory of this software component.
  * If no LICENSE file comes with this software, it is provided AS-IS.
  *
  ******************************************************************************
  */
/* USER CODE END Header */

#include "FreeRTOS.h"
#include "task.h"
#include "main.h"

/* GetIdleTaskMemory prototype (linked to static allocation support) */
void vApplicationGetIdleTaskMemory( StaticTask_t **ppxIdleTaskTCBBuffer, StackType_t **ppxIdleTaskStackBuffer, uint32_t *pulIdleTaskStackSize );

/* Hook prototypes */
void vApplicationTickHook(void);

/* USER CODE BEGIN 3 */
__weak void vApplicationTickHook( void )
{
   /* This function will be called by each tick interrupt if
   configUSE_TICK_HOOK is set to 1 in FreeRTOSConfig.h. User code can be
   added here, but the tick hook is called from an interrupt context, so
   code must not attempt to block, and only the interrupt safe FreeRTOS API
   functions can be used (those that end in FromISR()). */
}
/* USER CODE END 3 */

/* USER CODE BEGIN GET_IDLE_TASK_MEMORY */
static StaticTask_t xIdleTaskTCBBuffer;
static StackType_t xIdleStack[configMINIMAL_STACK_SIZE];

void vApplicationGetIdleTaskMemory( StaticTask_t **ppxIdleTaskTCBBuffer, StackType_t **ppxIdleTaskStackBuffer, uint32_t *pulIdleTaskStackSize )
{
  *ppxIdleTaskTCBBuffer = &xIdleTaskTCBBuffer;
  *ppxIdleTaskStackBuffer = &xIdleStack[0];
  *pulIdleTaskStackSize = configMINIMAL_STACK_SIZE;
  /* place for user code */
}
/* USER CODE END GET_IDLE_TASK_MEMORY */
